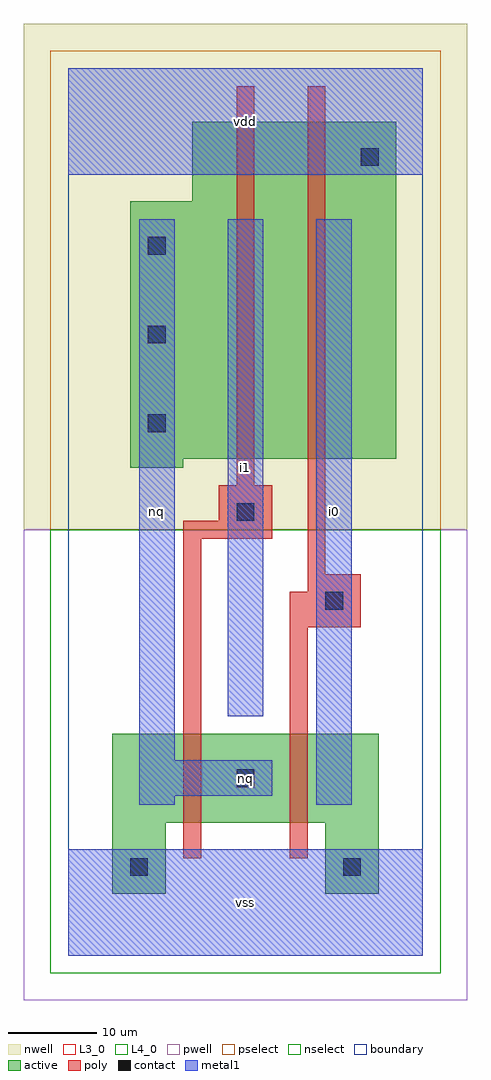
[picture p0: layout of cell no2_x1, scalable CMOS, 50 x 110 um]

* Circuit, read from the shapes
.subckt no2_x1 i0 i1 nq vdd vss
M1 nq i1 vss VSUBS nfet w=10u l=2u
M2 vss i0 nq VSUBS nfet w=10u l=2u
M3 n1 i1 nq n2 pfet w=38u l=2u
M4 vdd i0 n1 n2 pfet w=38u l=2u
.ends

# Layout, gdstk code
import gdstk
lib = gdstk.Library(unit=1e-6, precision=1e-09)
def R(c, l, rs):  # rectangles x0, y0, x1, y1
    for r in rs: c.add(gdstk.rectangle(r[:2], r[2:], *l))
def A(c, l, x, y, w, h, nx, ny, dx, dy):  # array of equal rectangles
    R(c, l, [(x+i*dx, y+j*dy, x+i*dx+w, y+j*dy+h) for i in range(nx) for j in range(ny)])
L3_0 = (3, 0)
L4_0 = (4, 0)
contact = (25, 0)
pwell = (41, 0)
nwell = (42, 0)
active = (43, 0)
pselect = (44, 0)
nselect = (45, 0)
poly = (46, 0)
metal1 = (49, 0)
boundary = (63, 0)

no2_x1 = lib.new_cell('no2_x1')
R(no2_x1, L3_0, [(5,7,11,15), (29,7,35,15), (5,15,35,25)])
R(no2_x1, L4_0, [(7,55,13,56), (7,56,37,85), (14,85,37,94)])
A(no2_x1, contact, 9, 59, 2, 2, 1, 3, 0, 10)
R(no2_x1, contact, [(7,9,9,11), (31,9,33,11), (19,19,21,21), (29,39,31,41), (19,49,21,51), (33,89,35,91)])
R(no2_x1, pwell, [(-5,-5,45,48)])
R(no2_x1, nwell, [(-5,48,45,105)])
R(no2_x1, active, [(5,7,11,15), (29,7,35,15), (5,15,35,25), (7,55,13,56), (7,56,37,85), (14,85,37,94)])
R(no2_x1, pselect, [(-2,48,42,102)])
R(no2_x1, nselect, [(-2,-2,42,48)])
R(no2_x1, poly, [(13,11,15,47), (25,11,27,37), (25,37,33,41), (27,41,33,43), (27,43,29,98), (13,47,23,49), (17,49,23,53), (19,53,21,98)])
R(no2_x1, metal1, [(0,0,40,12), (8,17,12,18), (28,17,32,83), (8,18,23,22), (8,22,12,83), (18,27,22,83), (0,88,40,100)])
R(no2_x1, boundary, [(0,0,40,100)])
no2_x1.add(gdstk.Label('vss', (20,6), layer=49, texttype=0))
no2_x1.add(gdstk.Label('nq', (20,20), layer=49, texttype=0))
no2_x1.add(gdstk.Label('nq', (10,50), layer=49, texttype=0))
no2_x1.add(gdstk.Label('i1', (20,55), layer=49, texttype=0))
no2_x1.add(gdstk.Label('vdd', (20,94), layer=49, texttype=0))
no2_x1.add(gdstk.Label('i0', (30,50), layer=49, texttype=0))

lib.write_gds('no2_x1.gds')
